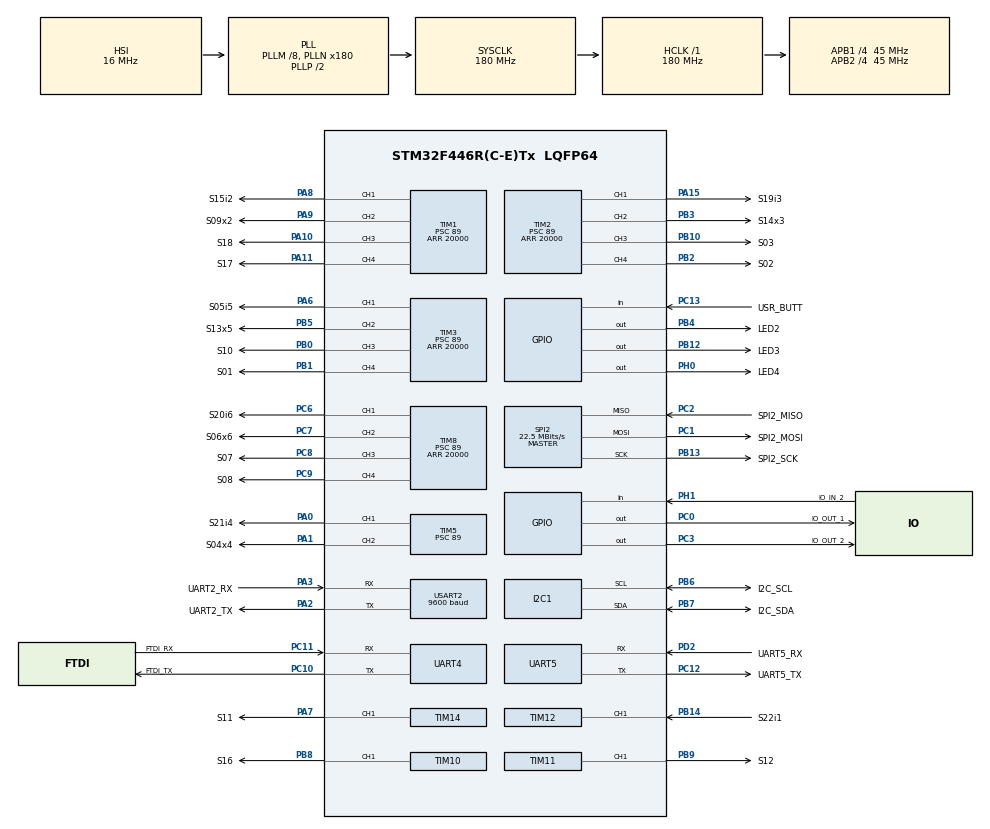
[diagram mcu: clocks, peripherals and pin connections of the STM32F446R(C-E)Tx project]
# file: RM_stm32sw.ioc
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Mcu.Family=STM32F4
Mcu.Name=STM32F446R(C-E)Tx
Mcu.Package=LQFP64
NVIC.PriorityGroup=NVIC_PRIORITYGROUP_4
NVIC.TIM8_UP_TIM13_IRQn=true\:0\:0\:false\:false\:true\:true\:true
NVIC.USART2_IRQn=true\:0\:0\:false\:false\:true\:true\:true
PA0-WKUP.GPIO_Label=S21i4
PA0-WKUP.Signal=S_TIM5_CH1
PA1.GPIO_Label=S04x4
PA1.Signal=S_TIM5_CH2
PA10.GPIO_Label=S18
PA10.Signal=S_TIM1_CH3
PA11.GPIO_Label=S17
PA11.Signal=S_TIM1_CH4
PA13.GPIO_Label=SWDIO
PA13.Mode=Serial_Wire
PA13.Signal=SYS_JTMS-SWDIO
PA14.GPIO_Label=SWCLK
PA14.Mode=Serial_Wire
PA14.Signal=SYS_JTCK-SWCLK
PA15.GPIO_Label=S19i3
PA15.Signal=S_TIM2_CH1_ETR
PA2.GPIO_Label=UART2_TX
PA2.Mode=Asynchronous
PA2.Signal=USART2_TX
PA3.GPIO_Label=UART2_RX
PA3.Mode=Asynchronous
PA3.Signal=USART2_RX
PA4.GPIO_Label=ADC_IN
PA4.Signal=ADCx_IN4
PA6.GPIO_Label=S05i5
PA6.Signal=S_TIM3_CH1
PA7.GPIO_Label=S11
PA7.Signal=S_TIM14_CH1
PA8.GPIO_Label=S15i2
PA8.Signal=S_TIM1_CH1
PA9.GPIO_Label=S09x2
PA9.Signal=S_TIM1_CH2
PB0.GPIO_Label=S10
PB0.Signal=S_TIM3_CH3
PB1.GPIO_Label=S01
PB1.Signal=S_TIM3_CH4
PB10.GPIO_Label=S03
PB10.Signal=S_TIM2_CH3
PB12.GPIO_Label=LED3
PB12.Signal=GPIO_Output
PB13.GPIO_Label=SPI2_SCK
PB13.Mode=Full_Duplex_Master
PB13.Signal=SPI2_SCK
PB14.GPIO_Label=S22i1
PB14.Signal=S_TIM12_CH1
PB2.GPIO_Label=S02
PB2.Signal=S_TIM2_CH4
PB3.GPIO_Label=S14x3
PB3.Signal=S_TIM2_CH2
PB4.GPIO_Label=LED2
PB4.Signal=GPIO_Output
PB5.GPIO_Label=S13x5
PB5.Signal=S_TIM3_CH2
PB6.GPIO_Label=I2C_SCL
PB6.Mode=I2C
PB6.Signal=I2C1_SCL
PB7.GPIO_Label=I2C_SDA
PB7.Mode=I2C
PB7.Signal=I2C1_SDA
PB8.GPIO_Label=S16
PB8.Signal=S_TIM10_CH1
PB9.GPIO_Label=S12
PB9.Signal=S_TIM11_CH1
PC0.GPIO_Label=IO_OUT_1
PC0.Signal=GPIO_Output
PC1.GPIO_Label=SPI2_MOSI
PC1.Mode=Full_Duplex_Master
PC1.Signal=SPI2_MOSI
PC10.GPIO_Label=FTDI_TX
PC10.Mode=Asynchronous
PC10.Signal=UART4_TX
PC11.GPIO_Label=FTDI_RX
PC11.Mode=Asynchronous
PC11.Signal=UART4_RX
PC12.GPIO_Label=UART5_TX
PC12.Mode=Asynchronous
PC12.Signal=UART5_TX
PC13.GPIO_Label=USR_BUTT
PC13.Signal=GPIO_Input
PC14-OSC32_IN.GPIO_Label=OSC_IN
PC14-OSC32_IN.Signal=RCC_OSC32_IN
PC15-OSC32_OUT.GPIO_Label=OSC_OUT
PC15-OSC32_OUT.Signal=RCC_OSC32_OUT
PC2.GPIO_Label=SPI2_MISO
PC2.Mode=Full_Duplex_Master
PC2.Signal=SPI2_MISO
PC3.GPIO_Label=IO_OUT_2
PC3.Signal=GPIO_Output
PC6.GPIO_Label=S20i6
PC6.Signal=S_TIM8_CH1
PC7.GPIO_Label=S06x6
PC7.Signal=S_TIM8_CH2
PC8.GPIO_Label=S07
PC8.Signal=S_TIM8_CH3
PC9.GPIO_Label=S08
PC9.Signal=S_TIM8_CH4
PD2.GPIO_Label=UART5_RX
PD2.Mode=Asynchronous
PD2.Signal=UART5_RX
PH0-OSC_IN.GPIO_Label=LED4
PH0-OSC_IN.Signal=GPIO_Output
PH1-OSC_OUT.GPIO_Label=IO_IN_2
PH1-OSC_OUT.Signal=GPIO_Input
ProjectManager.HeapSize=0x200
ProjectManager.StackSize=0x400
ProjectManager.TargetToolchain=TrueSTUDIO
RCC.AHBFreq_Value=180000000
RCC.APB1CLKDivider=RCC_HCLK_DIV4
RCC.APB1Freq_Value=45000000
RCC.APB1TimFreq_Value=90000000
RCC.APB2CLKDivider=RCC_HCLK_DIV4
RCC.APB2Freq_Value=45000000
RCC.APB2TimFreq_Value=90000000
RCC.CortexFreq_Value=180000000
RCC.HCLKFreq_Value=180000000
RCC.PLLM=8
RCC.PLLN=180
RCC.SYSCLKFreq_VALUE=180000000
RCC.SYSCLKSource=RCC_SYSCLKSOURCE_PLLCLK
RCC.USBFreq_Value=180000000
RCC.VCOOutputFreq_Value=360000000
SH.ADCx_IN4.0=ADC1_IN4
SH.S_TIM10_CH1.0=TIM10_CH1,PWM Generation1 CH1
SH.S_TIM11_CH1.0=TIM11_CH1,PWM Generation1 CH1
SH.S_TIM12_CH1.0=TIM12_CH1,PWM_Input_1
SH.S_TIM14_CH1.0=TIM14_CH1,PWM Generation1 CH1
SH.S_TIM1_CH1.0=TIM1_CH1,PWM Generation1 CH1
SH.S_TIM1_CH2.0=TIM1_CH2,PWM Generation2 CH2
SH.S_TIM1_CH3.0=TIM1_CH3,PWM Generation3 CH3
SH.S_TIM1_CH4.0=TIM1_CH4,PWM Generation4 CH4
SH.S_TIM2_CH1_ETR.0=TIM2_CH1,PWM Generation1 CH1
SH.S_TIM2_CH2.0=TIM2_CH2,PWM Generation2 CH2
SH.S_TIM2_CH3.0=TIM2_CH3,PWM Generation3 CH3
SH.S_TIM2_CH4.0=TIM2_CH4,PWM Generation4 CH4
SH.S_TIM3_CH1.0=TIM3_CH1,PWM Generation1 CH1
SH.S_TIM3_CH2.0=TIM3_CH2,PWM Generation2 CH2
SH.S_TIM3_CH3.0=TIM3_CH3,PWM Generation3 CH3
SH.S_TIM3_CH4.0=TIM3_CH4,PWM Generation4 CH4
SH.S_TIM5_CH1.0=TIM5_CH1,PWM Generation1 CH1
SH.S_TIM5_CH2.0=TIM5_CH2,PWM Generation2 CH2
SH.S_TIM8_CH1.0=TIM8_CH1,PWM Generation1 CH1
SH.S_TIM8_CH2.0=TIM8_CH2,PWM Generation2 CH2
SH.S_TIM8_CH3.0=TIM8_CH3,PWM Generation3 CH3
SH.S_TIM8_CH4.0=TIM8_CH4,PWM Generation4 CH4
SPI2.CalculateBaudRate=22.5 MBits/s
SPI2.Direction=SPI_DIRECTION_2LINES
SPI2.Mode=SPI_MODE_MASTER
SPI2.VirtualType=VM_MASTER
TIM1.Channel-PWM\ Generation1\ CH1=TIM_CHANNEL_1
TIM1.Channel-PWM\ Generation2\ CH2=TIM_CHANNEL_2
TIM1.Channel-PWM\ Generation3\ CH3=TIM_CHANNEL_3
TIM1.Channel-PWM\ Generation4\ CH4=TIM_CHANNEL_4
TIM1.Period=20000
TIM1.Prescaler=89
TIM1.Pulse-PWM\ Generation1\ CH1=1500
TIM1.Pulse-PWM\ Generation2\ CH2=1500
TIM1.Pulse-PWM\ Generation3\ CH3=1500
TIM1.Pulse-PWM\ Generation4\ CH4=1500
TIM10.Channel=TIM_CHANNEL_1
TIM10.Period=20000
TIM10.Prescaler=89
TIM10.Pulse=1500
TIM11.Channel=TIM_CHANNEL_1
TIM11.Period=20000
TIM11.Prescaler=89
TIM11.Pulse=1500
TIM13.Period=20000
TIM13.Prescaler=89
TIM14.Channel=TIM_CHANNEL_1
TIM14.Period=20000
TIM14.Prescaler=89
TIM2.Channel-PWM\ Generation1\ CH1=TIM_CHANNEL_1
TIM2.Channel-PWM\ Generation2\ CH2=TIM_CHANNEL_2
TIM2.Channel-PWM\ Generation3\ CH3=TIM_CHANNEL_3
TIM2.Channel-PWM\ Generation4\ CH4=TIM_CHANNEL_4
TIM2.Period=20000
TIM2.Prescaler=89
TIM2.Pulse-PWM\ Generation1\ CH1=1500
TIM2.Pulse-PWM\ Generation2\ CH2=1500
TIM2.Pulse-PWM\ Generation3\ CH3=1500
TIM2.Pulse-PWM\ Generation4\ CH4=1500
TIM3.Channel-PWM\ Generation1\ CH1=TIM_CHANNEL_1
TIM3.Channel-PWM\ Generation2\ CH2=TIM_CHANNEL_2
TIM3.Channel-PWM\ Generation3\ CH3=TIM_CHANNEL_3
TIM3.Channel-PWM\ Generation4\ CH4=TIM_CHANNEL_4
TIM3.Period=20000
TIM3.Prescaler=89
TIM3.Pulse-PWM\ Generation1\ CH1=1500
TIM3.Pulse-PWM\ Generation2\ CH2=1500
TIM3.Pulse-PWM\ Generation3\ CH3=1500
TIM3.Pulse-PWM\ Generation4\ CH4=1500
TIM5.Channel-PWM\ Generation1\ CH1=TIM_CHANNEL_1
TIM5.Channel-PWM\ Generation2\ CH2=TIM_CHANNEL_2
TIM5.Period=20000
TIM5.Prescaler=89
TIM5.Pulse-PWM\ Generation1\ CH1=1500
TIM5.Pulse-PWM\ Generation2\ CH2=1500
TIM8.Channel-PWM\ Generation1\ CH1=TIM_CHANNEL_1
TIM8.Channel-PWM\ Generation2\ CH2=TIM_CHANNEL_2
TIM8.Channel-PWM\ Generation3\ CH3=TIM_CHANNEL_3
TIM8.Channel-PWM\ Generation4\ CH4=TIM_CHANNEL_4
TIM8.Period=20000
TIM8.Prescaler=89
TIM8.Pulse-PWM\ Generation1\ CH1=1500
TIM8.Pulse-PWM\ Generation2\ CH2=1500
TIM8.Pulse-PWM\ Generation3\ CH3=1500
TIM8.Pulse-PWM\ Generation4\ CH4=1500
UART4.VirtualMode=Asynchronous
UART5.VirtualMode=Asynchronous
USART2.BaudRate=9600
USART2.VirtualMode=VM_ASYNC
VP_RTC_VS_RTC_Activate.Mode=RTC_Enabled
VP_TIM10_VS_ClockSourceINT.Mode=Enable_Timer
VP_TIM11_VS_ClockSourceINT.Mode=Enable_Timer
VP_TIM12_VS_ClockSourceINT.Mode=Internal
VP_TIM13_VS_ClockSourceINT.Mode=Enable_Timer
VP_TIM14_VS_ClockSourceINT.Mode=Enable_Timer
VP_TIM1_VS_ClockSourceINT.Mode=Internal
VP_TIM2_VS_ClockSourceINT.Mode=Internal
VP_TIM3_VS_ClockSourceINT.Mode=Internal
VP_TIM5_VS_ClockSourceINT.Mode=Internal
VP_TIM7_VS_ClockSourceINT.Mode=Enable_Timer
VP_TIM8_VS_ClockSourceINT.Mode=Internal
board=custom

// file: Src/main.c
/* USER CODE BEGIN Header */
/**
  ******************************************************************************
  * @file           : main.c
  * @brief          : Main program body
  ******************************************************************************
  ** This notice applies to any and all portions of this file
  * that are not between comment pairs USER CODE BEGIN and
  * USER CODE END. Other portions of this file, whether
  * inserted by the user or by software development tools
  * are owned by their respective copyright owners.
  *
  * COPYRIGHT(c) 2019 STMicroelectronics
  *
  * Redistribution and use in source and binary forms, with or without modification,
  * are permitted provided that the following conditions are met:
  *   1. Redistributions of source code must retain the above copyright notice,
  *      this list of conditions and the following disclaimer.
  *   2. Redistributions in binary form must reproduce the above copyright notice,
  *      this list of conditions and the following disclaimer in the documentation
  *      and/or other materials provided with the distribution.
  *   3. Neither the name of STMicroelectronics nor the names of its contributors
  *      may be used to endorse or promote products derived from this software
  *      without specific prior written permission.
  *
  * THIS SOFTWARE IS PROVIDED BY THE COPYRIGHT HOLDERS AND CONTRIBUTORS "AS IS"
  * AND ANY EXPRESS OR IMPLIED WARRANTIES, INCLUDING, BUT NOT LIMITED TO, THE
  * IMPLIED WARRANTIES OF MERCHANTABILITY AND FITNESS FOR A PARTICULAR PURPOSE ARE
  * DISCLAIMED. IN NO EVENT SHALL THE COPYRIGHT HOLDER OR CONTRIBUTORS BE LIABLE
  * FOR ANY DIRECT, INDIRECT, INCIDENTAL, SPECIAL, EXEMPLARY, OR CONSEQUENTIAL
  * DAMAGES (INCLUDING, BUT NOT LIMITED TO, PROCUREMENT OF SUBSTITUTE GOODS OR
  * SERVICES; LOSS OF USE, DATA, OR PROFITS; OR BUSINESS INTERRUPTION) HOWEVER
  * CAUSED AND ON ANY THEORY OF LIABILITY, WHETHER IN CONTRACT, STRICT LIABILITY,
  * OR TORT (INCLUDING NEGLIGENCE OR OTHERWISE) ARISING IN ANY WAY OUT OF THE USE
  * OF THIS SOFTWARE, EVEN IF ADVISED OF THE POSSIBILITY OF SUCH DAMAGE.
  *
  ******************************************************************************
  */
/* USER CODE END Header */

#include "main.h"

/* USER CODE BEGIN Includes */
#include "serial.h"
#include "servo.h"
#include "leg.h"
#include "robot.h"
#include "tools.h"
/* USER CODE END Includes */

I2C_HandleTypeDef hi2c1;

RTC_HandleTypeDef hrtc;

SPI_HandleTypeDef hspi2;

TIM_HandleTypeDef htim1;
TIM_HandleTypeDef htim2;
TIM_HandleTypeDef htim3;
TIM_HandleTypeDef htim5;
TIM_HandleTypeDef htim7;
TIM_HandleTypeDef htim8;
TIM_HandleTypeDef htim10;
TIM_HandleTypeDef htim11;
TIM_HandleTypeDef htim12;
TIM_HandleTypeDef htim13;
TIM_HandleTypeDef htim14;

UART_HandleTypeDef huart4;
UART_HandleTypeDef huart5;
UART_HandleTypeDef huart2;

void SystemClock_Config(void);
static void MX_GPIO_Init(void);
static void MX_USART2_UART_Init(void);
static void MX_I2C1_Init(void);
static void MX_UART4_Init(void);
static void MX_TIM12_Init(void);
static void MX_TIM11_Init(void);
static void MX_TIM10_Init(void);
static void MX_TIM8_Init(void);
static void MX_TIM7_Init(void);
static void MX_TIM5_Init(void);
static void MX_TIM3_Init(void);
static void MX_TIM2_Init(void);
static void MX_TIM1_Init(void);
static void MX_UART5_Init(void);
static void MX_SPI2_Init(void);
static void MX_RTC_Init(void);
static void MX_TIM14_Init(void);
static void MX_TIM13_Init(void);

int main(void)
{

  /* MCU Configuration--------------------------------------------------------*/

  /* Reset of all peripherals, Initializes the Flash interface and the Systick. */
  HAL_Init();

  /* Configure the system clock */
  SystemClock_Config();

  /* Initialize all configured peripherals */
  MX_GPIO_Init();
  MX_USART2_UART_Init();
  MX_I2C1_Init();
  MX_UART4_Init();
  MX_TIM12_Init();
  MX_TIM11_Init();
  MX_TIM10_Init();
  MX_TIM8_Init();
  MX_TIM7_Init();
  MX_TIM5_Init();
  MX_TIM3_Init();
  MX_TIM2_Init();
  MX_TIM1_Init();
  MX_UART5_Init();
  MX_SPI2_Init();
  MX_RTC_Init();
  MX_TIM14_Init();
  MX_TIM13_Init();
  /* USER CODE BEGIN 2 */

  // Initialise serial exchanges
  HAL_Serial_Init(&huart2, &hserial2);

  // Initialise robot
  Robot_Init();
  Robot_Start();
  LedSwitch(3,GPIO_PIN_SET);
  LedSwitch(4,GPIO_PIN_SET);

  // initialise TIM13 for 50Hz IT
  HAL_TIM_Base_Start_IT(&htim13);

  // initialise UART2 for command reception
  Message_StartReceive(5);

  /* USER CODE END 2 */

  /* Infinite loop */
  while (1)
  {

    /* USER CODE BEGIN 3 */
    // User button pushed ?
    if(HAL_GPIO_ReadPin(USR_BUTT_GPIO_Port,USR_BUTT_Pin)==GPIO_PIN_RESET)
    {
      while(HAL_GPIO_ReadPin(USR_BUTT_GPIO_Port,USR_BUTT_Pin)==GPIO_PIN_RESET)
      {
        // wait until button release
      }
      if(robot.robot_on == 1)
      {
        LedSwitch(4,GPIO_PIN_SET);
        robot.robot_on=0;
        Robot_Stop();
      }
      else
      {
        LedSwitch(4,GPIO_PIN_RESET);
        robot.robot_on=1;
        Robot_Start();
      }
    }

    // read and process commands
    Robot_ReadCommand();

    // measure TIM13 IT duration
    if(robot.tim13_nb>=50)
    {
      int i;
      int tim13_ctr_max;
      float tim13_ctr_mean;

      tim13_ctr_max=0;
      tim13_ctr_mean=0;
      for(i=0;i<robot.tim13_nb;i++)
      {
        if( tim13_ctr_max < robot.tim13_ctr[i])
          tim13_ctr_max= robot.tim13_ctr[i];
        tim13_ctr_mean+=(float)robot.tim13_ctr[i];
      }
      tim13_ctr_mean/=(float)robot.tim13_nb;
      robot.tim13_nb=0;

      // output useful information
      char buf[32];
      Message_Send((uint8_t *)buf, sprintf(buf, "** TIM13 ctr max=%d mean=%f\r\n", tim13_ctr_max, tim13_ctr_mean));
    }
    HAL_Delay(100);
  }
  /* USER CODE END 3 */
}

void SystemClock_Config(void)
{
  RCC_OscInitTypeDef RCC_OscInitStruct = {0};
  RCC_ClkInitTypeDef RCC_ClkInitStruct = {0};
  RCC_PeriphCLKInitTypeDef PeriphClkInitStruct = {0};

  /**Configure the main internal regulator output voltage
  */
  __HAL_RCC_PWR_CLK_ENABLE();
  __HAL_PWR_VOLTAGESCALING_CONFIG(PWR_REGULATOR_VOLTAGE_SCALE1);
  /**Initializes the CPU, AHB and APB busses clocks
  */
  RCC_OscInitStruct.OscillatorType = RCC_OSCILLATORTYPE_HSI|RCC_OSCILLATORTYPE_LSI;
  RCC_OscInitStruct.LSEState = RCC_LSE_OFF;
  RCC_OscInitStruct.HSIState = RCC_HSI_ON;
  RCC_OscInitStruct.HSICalibrationValue = RCC_HSICALIBRATION_DEFAULT;
  RCC_OscInitStruct.LSIState = RCC_LSI_ON;
  RCC_OscInitStruct.PLL.PLLState = RCC_PLL_ON;
  RCC_OscInitStruct.PLL.PLLSource = RCC_PLLSOURCE_HSI;
  RCC_OscInitStruct.PLL.PLLM = 8;
  RCC_OscInitStruct.PLL.PLLN = 180;
  RCC_OscInitStruct.PLL.PLLP = RCC_PLLP_DIV2;
  RCC_OscInitStruct.PLL.PLLQ = 2;
  RCC_OscInitStruct.PLL.PLLR = 2;
  if (HAL_RCC_OscConfig(&RCC_OscInitStruct) != HAL_OK)
  {
    Error_Handler();
  }
  /**Activate the Over-Drive mode
  */
  if (HAL_PWREx_EnableOverDrive() != HAL_OK)
  {
    Error_Handler();
  }
  /**Initializes the CPU, AHB and APB busses clocks
  */
  RCC_ClkInitStruct.ClockType = RCC_CLOCKTYPE_HCLK|RCC_CLOCKTYPE_SYSCLK
                              |RCC_CLOCKTYPE_PCLK1|RCC_CLOCKTYPE_PCLK2;
  RCC_ClkInitStruct.SYSCLKSource = RCC_SYSCLKSOURCE_PLLCLK;
  RCC_ClkInitStruct.AHBCLKDivider = RCC_SYSCLK_DIV1;
  RCC_ClkInitStruct.APB1CLKDivider = RCC_HCLK_DIV4;
  RCC_ClkInitStruct.APB2CLKDivider = RCC_HCLK_DIV4;

  if (HAL_RCC_ClockConfig(&RCC_ClkInitStruct, FLASH_LATENCY_5) != HAL_OK)
  {
    Error_Handler();
  }
  PeriphClkInitStruct.PeriphClockSelection = RCC_PERIPHCLK_RTC;
  PeriphClkInitStruct.RTCClockSelection = RCC_RTCCLKSOURCE_LSI;
  if (HAL_RCCEx_PeriphCLKConfig(&PeriphClkInitStruct) != HAL_OK)
  {
    Error_Handler();
  }
}

static void MX_I2C1_Init(void)
{

  hi2c1.Instance = I2C1;
  hi2c1.Init.ClockSpeed = 100000;
  hi2c1.Init.DutyCycle = I2C_DUTYCYCLE_2;
  hi2c1.Init.OwnAddress1 = 0;
  hi2c1.Init.AddressingMode = I2C_ADDRESSINGMODE_7BIT;
  hi2c1.Init.DualAddressMode = I2C_DUALADDRESS_DISABLE;
  hi2c1.Init.OwnAddress2 = 0;
  hi2c1.Init.GeneralCallMode = I2C_GENERALCALL_DISABLE;
  hi2c1.Init.NoStretchMode = I2C_NOSTRETCH_DISABLE;
  if (HAL_I2C_Init(&hi2c1) != HAL_OK)
  {
    Error_Handler();
  }

}

static void MX_RTC_Init(void)
{

  /**Initialize RTC Only
  */
  hrtc.Instance = RTC;
  hrtc.Init.HourFormat = RTC_HOURFORMAT_24;
  hrtc.Init.AsynchPrediv = 127;
  hrtc.Init.SynchPrediv = 255;
  hrtc.Init.OutPut = RTC_OUTPUT_DISABLE;
  hrtc.Init.OutPutPolarity = RTC_OUTPUT_POLARITY_HIGH;
  hrtc.Init.OutPutType = RTC_OUTPUT_TYPE_OPENDRAIN;
  if (HAL_RTC_Init(&hrtc) != HAL_OK)
  {
    Error_Handler();
  }

}

static void MX_SPI2_Init(void)
{

  /* SPI2 parameter configuration*/
  hspi2.Instance = SPI2;
  hspi2.Init.Mode = SPI_MODE_MASTER;
  hspi2.Init.Direction = SPI_DIRECTION_2LINES;
  hspi2.Init.DataSize = SPI_DATASIZE_8BIT;
  hspi2.Init.CLKPolarity = SPI_POLARITY_LOW;
  hspi2.Init.CLKPhase = SPI_PHASE_1EDGE;
  hspi2.Init.NSS = SPI_NSS_SOFT;
  hspi2.Init.BaudRatePrescaler = SPI_BAUDRATEPRESCALER_2;
  hspi2.Init.FirstBit = SPI_FIRSTBIT_MSB;
  hspi2.Init.TIMode = SPI_TIMODE_DISABLE;
  hspi2.Init.CRCCalculation = SPI_CRCCALCULATION_DISABLE;
  hspi2.Init.CRCPolynomial = 10;
  if (HAL_SPI_Init(&hspi2) != HAL_OK)
  {
    Error_Handler();
  }

}

static void MX_TIM1_Init(void)
{

  TIM_ClockConfigTypeDef sClockSourceConfig = {0};
  TIM_MasterConfigTypeDef sMasterConfig = {0};
  TIM_OC_InitTypeDef sConfigOC = {0};
  TIM_BreakDeadTimeConfigTypeDef sBreakDeadTimeConfig = {0};

  htim1.Instance = TIM1;
  htim1.Init.Prescaler = 89;
  htim1.Init.CounterMode = TIM_COUNTERMODE_UP;
  htim1.Init.Period = 20000;
  htim1.Init.ClockDivision = TIM_CLOCKDIVISION_DIV1;
  htim1.Init.RepetitionCounter = 0;
  if (HAL_TIM_Base_Init(&htim1) != HAL_OK)
  {
    Error_Handler();
  }
  sClockSourceConfig.ClockSource = TIM_CLOCKSOURCE_INTERNAL;
  if (HAL_TIM_ConfigClockSource(&htim1, &sClockSourceConfig) != HAL_OK)
  {
    Error_Handler();
  }
  if (HAL_TIM_PWM_Init(&htim1) != HAL_OK)
  {
    Error_Handler();
  }
  sMasterConfig.MasterOutputTrigger = TIM_TRGO_RESET;
  sMasterConfig.MasterSlaveMode = TIM_MASTERSLAVEMODE_DISABLE;
  if (HAL_TIMEx_MasterConfigSynchronization(&htim1, &sMasterConfig) != HAL_OK)
  {
    Error_Handler();
  }
  sConfigOC.OCMode = TIM_OCMODE_PWM1;
  sConfigOC.Pulse = 1500;
  sConfigOC.OCPolarity = TIM_OCPOLARITY_HIGH;
  sConfigOC.OCNPolarity = TIM_OCNPOLARITY_HIGH;
  sConfigOC.OCFastMode = TIM_OCFAST_DISABLE;
  sConfigOC.OCIdleState = TIM_OCIDLESTATE_RESET;
  sConfigOC.OCNIdleState = TIM_OCNIDLESTATE_RESET;
  if (HAL_TIM_PWM_ConfigChannel(&htim1, &sConfigOC, TIM_CHANNEL_1) != HAL_OK)
  {
    Error_Handler();
  }
  if (HAL_TIM_PWM_ConfigChannel(&htim1, &sConfigOC, TIM_CHANNEL_2) != HAL_OK)
  {
    Error_Handler();
  }
  if (HAL_TIM_PWM_ConfigChannel(&htim1, &sConfigOC, TIM_CHANNEL_3) != HAL_OK)
  {
    Error_Handler();
  }
  if (HAL_TIM_PWM_ConfigChannel(&htim1, &sConfigOC, TIM_CHANNEL_4) != HAL_OK)
  {
    Error_Handler();
  }
  sBreakDeadTimeConfig.OffStateRunMode = TIM_OSSR_DISABLE;
  sBreakDeadTimeConfig.OffStateIDLEMode = TIM_OSSI_DISABLE;
  sBreakDeadTimeConfig.LockLevel = TIM_LOCKLEVEL_OFF;
  sBreakDeadTimeConfig.DeadTime = 0;
  sBreakDeadTimeConfig.BreakState = TIM_BREAK_DISABLE;
  sBreakDeadTimeConfig.BreakPolarity = TIM_BREAKPOLARITY_HIGH;
  sBreakDeadTimeConfig.AutomaticOutput = TIM_AUTOMATICOUTPUT_DISABLE;
  if (HAL_TIMEx_ConfigBreakDeadTime(&htim1, &sBreakDeadTimeConfig) != HAL_OK)
  {
    Error_Handler();
  }
  HAL_TIM_MspPostInit(&htim1);

}

static void MX_TIM2_Init(void)
{

  TIM_ClockConfigTypeDef sClockSourceConfig = {0};
  TIM_MasterConfigTypeDef sMasterConfig = {0};
  TIM_OC_InitTypeDef sConfigOC = {0};

  htim2.Instance = TIM2;
  htim2.Init.Prescaler = 89;
  htim2.Init.CounterMode = TIM_COUNTERMODE_UP;
  htim2.Init.Period = 20000;
  htim2.Init.ClockDivision = TIM_CLOCKDIVISION_DIV1;
  if (HAL_TIM_Base_Init(&htim2) != HAL_OK)
  {
    Error_Handler();
  }
  sClockSourceConfig.ClockSource = TIM_CLOCKSOURCE_INTERNAL;
  if (HAL_TIM_ConfigClockSource(&htim2, &sClockSourceConfig) != HAL_OK)
  {
    Error_Handler();
  }
  if (HAL_TIM_PWM_Init(&htim2) != HAL_OK)
  {
    Error_Handler();
  }
  sMasterConfig.MasterOutputTrigger = TIM_TRGO_RESET;
  sMasterConfig.MasterSlaveMode = TIM_MASTERSLAVEMODE_DISABLE;
  if (HAL_TIMEx_MasterConfigSynchronization(&htim2, &sMasterConfig) != HAL_OK)
  {
    Error_Handler();
  }
  sConfigOC.OCMode = TIM_OCMODE_PWM1;
  sConfigOC.Pulse = 1500;
  sConfigOC.OCPolarity = TIM_OCPOLARITY_HIGH;
  sConfigOC.OCFastMode = TIM_OCFAST_DISABLE;
  if (HAL_TIM_PWM_ConfigChannel(&htim2, &sConfigOC, TIM_CHANNEL_1) != HAL_OK)
  {
    Error_Handler();
  }
  if (HAL_TIM_PWM_ConfigChannel(&htim2, &sConfigOC, TIM_CHANNEL_2) != HAL_OK)
  {
    Error_Handler();
  }
  if (HAL_TIM_PWM_ConfigChannel(&htim2, &sConfigOC, TIM_CHANNEL_3) != HAL_OK)
  {
    Error_Handler();
  }
  if (HAL_TIM_PWM_ConfigChannel(&htim2, &sConfigOC, TIM_CHANNEL_4) != HAL_OK)
  {
    Error_Handler();
  }
  HAL_TIM_MspPostInit(&htim2);

}

static void MX_TIM3_Init(void)
{

  TIM_ClockConfigTypeDef sClockSourceConfig = {0};
  TIM_MasterConfigTypeDef sMasterConfig = {0};
  TIM_OC_InitTypeDef sConfigOC = {0};

  htim3.Instance = TIM3;
  htim3.Init.Prescaler = 89;
  htim3.Init.CounterMode = TIM_COUNTERMODE_UP;
  htim3.Init.Period = 20000;
  htim3.Init.ClockDivision = TIM_CLOCKDIVISION_DIV1;
  if (HAL_TIM_Base_Init(&htim3) != HAL_OK)
  {
    Error_Handler();
  }
  sClockSourceConfig.ClockSource = TIM_CLOCKSOURCE_INTERNAL;
  if (HAL_TIM_ConfigClockSource(&htim3, &sClockSourceConfig) != HAL_OK)
  {
    Error_Handler();
  }
  if (HAL_TIM_PWM_Init(&htim3) != HAL_OK)
  {
    Error_Handler();
  }
  sMasterConfig.MasterOutputTrigger = TIM_TRGO_RESET;
  sMasterConfig.MasterSlaveMode = TIM_MASTERSLAVEMODE_DISABLE;
  if (HAL_TIMEx_MasterConfigSynchronization(&htim3, &sMasterConfig) != HAL_OK)
  {
    Error_Handler();
  }
  sConfigOC.OCMode = TIM_OCMODE_PWM1;
  sConfigOC.Pulse = 1500;
  sConfigOC.OCPolarity = TIM_OCPOLARITY_HIGH;
  sConfigOC.OCFastMode = TIM_OCFAST_DISABLE;
  if (HAL_TIM_PWM_ConfigChannel(&htim3, &sConfigOC, TIM_CHANNEL_1) != HAL_OK)
  {
    Error_Handler();
  }
  if (HAL_TIM_PWM_ConfigChannel(&htim3, &sConfigOC, TIM_CHANNEL_2) != HAL_OK)
  {
    Error_Handler();
  }
  if (HAL_TIM_PWM_ConfigChannel(&htim3, &sConfigOC, TIM_CHANNEL_3) != HAL_OK)
  {
    Error_Handler();
  }
  if (HAL_TIM_PWM_ConfigChannel(&htim3, &sConfigOC, TIM_CHANNEL_4) != HAL_OK)
  {
    Error_Handler();
  }
  HAL_TIM_MspPostInit(&htim3);

}

static void MX_TIM5_Init(void)
{

  TIM_ClockConfigTypeDef sClockSourceConfig = {0};
  TIM_MasterConfigTypeDef sMasterConfig = {0};
  TIM_OC_InitTypeDef sConfigOC = {0};

  htim5.Instance = TIM5;
  htim5.Init.Prescaler = 89;
  htim5.Init.CounterMode = TIM_COUNTERMODE_UP;
  htim5.Init.Period = 20000;
  htim5.Init.ClockDivision = TIM_CLOCKDIVISION_DIV1;
  if (HAL_TIM_Base_Init(&htim5) != HAL_OK)
  {
    Error_Handler();
  }
  sClockSourceConfig.ClockSource = TIM_CLOCKSOURCE_INTERNAL;
  if (HAL_TIM_ConfigClockSource(&htim5, &sClockSourceConfig) != HAL_OK)
  {
    Error_Handler();
  }
  if (HAL_TIM_PWM_Init(&htim5) != HAL_OK)
  {
    Error_Handler();
  }
  sMasterConfig.MasterOutputTrigger = TIM_TRGO_RESET;
  sMasterConfig.MasterSlaveMode = TIM_MASTERSLAVEMODE_DISABLE;
  if (HAL_TIMEx_MasterConfigSynchronization(&htim5, &sMasterConfig) != HAL_OK)
  {
    Error_Handler();
  }
  sConfigOC.OCMode = TIM_OCMODE_PWM1;
  sConfigOC.Pulse = 1500;
  sConfigOC.OCPolarity = TIM_OCPOLARITY_HIGH;
  sConfigOC.OCFastMode = TIM_OCFAST_DISABLE;
  if (HAL_TIM_PWM_ConfigChannel(&htim5, &sConfigOC, TIM_CHANNEL_1) != HAL_OK)
  {
    Error_Handler();
  }
  if (HAL_TIM_PWM_ConfigChannel(&htim5, &sConfigOC, TIM_CHANNEL_2) != HAL_OK)
  {
    Error_Handler();
  }
  HAL_TIM_MspPostInit(&htim5);

}

static void MX_TIM7_Init(void)
{

  TIM_MasterConfigTypeDef sMasterConfig = {0};

  htim7.Instance = TIM7;
  htim7.Init.Prescaler = 0;
  htim7.Init.CounterMode = TIM_COUNTERMODE_UP;
  htim7.Init.Period = 0;
  if (HAL_TIM_Base_Init(&htim7) != HAL_OK)
  {
    Error_Handler();
  }
  sMasterConfig.MasterOutputTrigger = TIM_TRGO_RESET;
  sMasterConfig.MasterSlaveMode = TIM_MASTERSLAVEMODE_DISABLE;
  if (HAL_TIMEx_MasterConfigSynchronization(&htim7, &sMasterConfig) != HAL_OK)
  {
    Error_Handler();
  }

}

static void MX_TIM8_Init(void)
{

  TIM_ClockConfigTypeDef sClockSourceConfig = {0};
  TIM_MasterConfigTypeDef sMasterConfig = {0};
  TIM_OC_InitTypeDef sConfigOC = {0};
  TIM_BreakDeadTimeConfigTypeDef sBreakDeadTimeConfig = {0};

  htim8.Instance = TIM8;
  htim8.Init.Prescaler = 89;
  htim8.Init.CounterMode = TIM_COUNTERMODE_UP;
  htim8.Init.Period = 20000;
  htim8.Init.ClockDivision = TIM_CLOCKDIVISION_DIV1;
  htim8.Init.RepetitionCounter = 0;
  if (HAL_TIM_Base_Init(&htim8) != HAL_OK)
  {
    Error_Handler();
  }
  sClockSourceConfig.ClockSource = TIM_CLOCKSOURCE_INTERNAL;
  if (HAL_TIM_ConfigClockSource(&htim8, &sClockSourceConfig) != HAL_OK)
  {
    Error_Handler();
  }
  if (HAL_TIM_PWM_Init(&htim8) != HAL_OK)
  {
    Error_Handler();
  }
  sMasterConfig.MasterOutputTrigger = TIM_TRGO_RESET;
  sMasterConfig.MasterSlaveMode = TIM_MASTERSLAVEMODE_DISABLE;
  if (HAL_TIMEx_MasterConfigSynchronization(&htim8, &sMasterConfig) != HAL_OK)
  {
    Error_Handler();
  }
  sConfigOC.OCMode = TIM_OCMODE_PWM1;
  sConfigOC.Pulse = 1500;
  sConfigOC.OCPolarity = TIM_OCPOLARITY_HIGH;
  sConfigOC.OCNPolarity = TIM_OCNPOLARITY_HIGH;
  sConfigOC.OCFastMode = TIM_OCFAST_DISABLE;
  sConfigOC.OCIdleState = TIM_OCIDLESTATE_RESET;
  sConfigOC.OCNIdleState = TIM_OCNIDLESTATE_RESET;
  if (HAL_TIM_PWM_ConfigChannel(&htim8, &sConfigOC, TIM_CHANNEL_1) != HAL_OK)
  {
    Error_Handler();
  }
  if (HAL_TIM_PWM_ConfigChannel(&htim8, &sConfigOC, TIM_CHANNEL_2) != HAL_OK)
  {
    Error_Handler();
  }
  if (HAL_TIM_PWM_ConfigChannel(&htim8, &sConfigOC, TIM_CHANNEL_3) != HAL_OK)
  {
    Error_Handler();
  }
  if (HAL_TIM_PWM_ConfigChannel(&htim8, &sConfigOC, TIM_CHANNEL_4) != HAL_OK)
  {
    Error_Handler();
  }
  sBreakDeadTimeConfig.OffStateRunMode = TIM_OSSR_DISABLE;
  sBreakDeadTimeConfig.OffStateIDLEMode = TIM_OSSI_DISABLE;
  sBreakDeadTimeConfig.LockLevel = TIM_LOCKLEVEL_OFF;
  sBreakDeadTimeConfig.DeadTime = 0;
  sBreakDeadTimeConfig.BreakState = TIM_BREAK_DISABLE;
  sBreakDeadTimeConfig.BreakPolarity = TIM_BREAKPOLARITY_HIGH;
  sBreakDeadTimeConfig.AutomaticOutput = TIM_AUTOMATICOUTPUT_DISABLE;
  if (HAL_TIMEx_ConfigBreakDeadTime(&htim8, &sBreakDeadTimeConfig) != HAL_OK)
  {
    Error_Handler();
  }
  HAL_TIM_MspPostInit(&htim8);

}

static void MX_TIM10_Init(void)
{

  TIM_OC_InitTypeDef sConfigOC = {0};

  htim10.Instance = TIM10;
  htim10.Init.Prescaler = 89;
  htim10.Init.CounterMode = TIM_COUNTERMODE_UP;
  htim10.Init.Period = 20000;
  htim10.Init.ClockDivision = TIM_CLOCKDIVISION_DIV1;
  if (HAL_TIM_Base_Init(&htim10) != HAL_OK)
  {
    Error_Handler();
  }
  if (HAL_TIM_PWM_Init(&htim10) != HAL_OK)
  {
    Error_Handler();
  }
  sConfigOC.OCMode = TIM_OCMODE_PWM1;
  sConfigOC.Pulse = 1500;
  sConfigOC.OCPolarity = TIM_OCPOLARITY_HIGH;
  sConfigOC.OCFastMode = TIM_OCFAST_DISABLE;
  if (HAL_TIM_PWM_ConfigChannel(&htim10, &sConfigOC, TIM_CHANNEL_1) != HAL_OK)
  {
    Error_Handler();
  }
  HAL_TIM_MspPostInit(&htim10);

}

static void MX_TIM11_Init(void)
{

  TIM_OC_InitTypeDef sConfigOC = {0};

  htim11.Instance = TIM11;
  htim11.Init.Prescaler = 89;
  htim11.Init.CounterMode = TIM_COUNTERMODE_UP;
  htim11.Init.Period = 20000;
  htim11.Init.ClockDivision = TIM_CLOCKDIVISION_DIV1;
  if (HAL_TIM_Base_Init(&htim11) != HAL_OK)
  {
    Error_Handler();
  }
  if (HAL_TIM_PWM_Init(&htim11) != HAL_OK)
  {
    Error_Handler();
  }
  sConfigOC.OCMode = TIM_OCMODE_PWM1;
  sConfigOC.Pulse = 1500;
  sConfigOC.OCPolarity = TIM_OCPOLARITY_HIGH;
  sConfigOC.OCFastMode = TIM_OCFAST_DISABLE;
  if (HAL_TIM_PWM_ConfigChannel(&htim11, &sConfigOC, TIM_CHANNEL_1) != HAL_OK)
  {
    Error_Handler();
  }
  HAL_TIM_MspPostInit(&htim11);

}

static void MX_TIM12_Init(void)
{

  TIM_ClockConfigTypeDef sClockSourceConfig = {0};
  TIM_SlaveConfigTypeDef sSlaveConfig = {0};
  TIM_IC_InitTypeDef sConfigIC = {0};

  htim12.Instance = TIM12;
  htim12.Init.Prescaler = 0;
  htim12.Init.CounterMode = TIM_COUNTERMODE_UP;
  htim12.Init.Period = 0;
  htim12.Init.ClockDivision = TIM_CLOCKDIVISION_DIV1;
  if (HAL_TIM_Base_Init(&htim12) != HAL_OK)
  {
    Error_Handler();
  }
  sClockSourceConfig.ClockSource = TIM_CLOCKSOURCE_INTERNAL;
  if (HAL_TIM_ConfigClockSource(&htim12, &sClockSourceConfig) != HAL_OK)
  {
    Error_Handler();
  }
  if (HAL_TIM_IC_Init(&htim12) != HAL_OK)
  {
    Error_Handler();
  }
  sSlaveConfig.SlaveMode = TIM_SLAVEMODE_RESET;
  sSlaveConfig.InputTrigger = TIM_TS_TI1FP1;
  sSlaveConfig.TriggerPolarity = TIM_INPUTCHANNELPOLARITY_RISING;
  sSlaveConfig.TriggerPrescaler = TIM_ICPSC_DIV1;
  sSlaveConfig.TriggerFilter = 0;
  if (HAL_TIM_SlaveConfigSynchronization(&htim12, &sSlaveConfig) != HAL_OK)
  {
    Error_Handler();
  }
  sConfigIC.ICPolarity = TIM_INPUTCHANNELPOLARITY_RISING;
  sConfigIC.ICSelection = TIM_ICSELECTION_DIRECTTI;
  sConfigIC.ICPrescaler = TIM_ICPSC_DIV1;
  sConfigIC.ICFilter = 0;
  if (HAL_TIM_IC_ConfigChannel(&htim12, &sConfigIC, TIM_CHANNEL_1) != HAL_OK)
  {
    Error_Handler();
  }
  sConfigIC.ICPolarity = TIM_INPUTCHANNELPOLARITY_FALLING;
  sConfigIC.ICSelection = TIM_ICSELECTION_INDIRECTTI;
  if (HAL_TIM_IC_ConfigChannel(&htim12, &sConfigIC, TIM_CHANNEL_2) != HAL_OK)
  {
    Error_Handler();
  }

}

static void MX_TIM13_Init(void)
{

  htim13.Instance = TIM13;
  htim13.Init.Prescaler = 89;
  htim13.Init.CounterMode = TIM_COUNTERMODE_UP;
  htim13.Init.Period = 20000;
  htim13.Init.ClockDivision = TIM_CLOCKDIVISION_DIV1;
  if (HAL_TIM_Base_Init(&htim13) != HAL_OK)
  {
    Error_Handler();
  }

}

static void MX_TIM14_Init(void)
{

  TIM_OC_InitTypeDef sConfigOC = {0};

  htim14.Instance = TIM14;
  htim14.Init.Prescaler = 89;
  htim14.Init.CounterMode = TIM_COUNTERMODE_UP;
  htim14.Init.Period = 20000;
  htim14.Init.ClockDivision = TIM_CLOCKDIVISION_DIV1;
  if (HAL_TIM_Base_Init(&htim14) != HAL_OK)
  {
    Error_Handler();
  }
  if (HAL_TIM_PWM_Init(&htim14) != HAL_OK)
  {
    Error_Handler();
  }
  sConfigOC.OCMode = TIM_OCMODE_PWM1;
  sConfigOC.Pulse = 0;
  sConfigOC.OCPolarity = TIM_OCPOLARITY_HIGH;
  sConfigOC.OCFastMode = TIM_OCFAST_DISABLE;
  if (HAL_TIM_PWM_ConfigChannel(&htim14, &sConfigOC, TIM_CHANNEL_1) != HAL_OK)
  {
    Error_Handler();
  }
  HAL_TIM_MspPostInit(&htim14);

}

static void MX_UART4_Init(void)
{

  huart4.Instance = UART4;
  huart4.Init.BaudRate = 115200;
  huart4.Init.WordLength = UART_WORDLENGTH_8B;
  huart4.Init.StopBits = UART_STOPBITS_1;
  huart4.Init.Parity = UART_PARITY_NONE;
  huart4.Init.Mode = UART_MODE_TX_RX;
  huart4.Init.HwFlowCtl = UART_HWCONTROL_NONE;
  huart4.Init.OverSampling = UART_OVERSAMPLING_16;
  if (HAL_UART_Init(&huart4) != HAL_OK)
  {
    Error_Handler();
  }

}

static void MX_UART5_Init(void)
{

  huart5.Instance = UART5;
  huart5.Init.BaudRate = 115200;
  huart5.Init.WordLength = UART_WORDLENGTH_8B;
  huart5.Init.StopBits = UART_STOPBITS_1;
  huart5.Init.Parity = UART_PARITY_NONE;
  huart5.Init.Mode = UART_MODE_TX_RX;
  huart5.Init.HwFlowCtl = UART_HWCONTROL_NONE;
  huart5.Init.OverSampling = UART_OVERSAMPLING_16;
  if (HAL_UART_Init(&huart5) != HAL_OK)
  {
    Error_Handler();
  }

}

static void MX_USART2_UART_Init(void)
{

  huart2.Instance = USART2;
  huart2.Init.BaudRate = 9600;
  huart2.Init.WordLength = UART_WORDLENGTH_8B;
  huart2.Init.StopBits = UART_STOPBITS_1;
  huart2.Init.Parity = UART_PARITY_NONE;
  huart2.Init.Mode = UART_MODE_TX_RX;
  huart2.Init.HwFlowCtl = UART_HWCONTROL_NONE;
  huart2.Init.OverSampling = UART_OVERSAMPLING_16;
  if (HAL_UART_Init(&huart2) != HAL_OK)
  {
    Error_Handler();
  }

}

static void MX_GPIO_Init(void)
{
  GPIO_InitTypeDef GPIO_InitStruct = {0};

  /* GPIO Ports Clock Enable */
  __HAL_RCC_GPIOC_CLK_ENABLE();
  __HAL_RCC_GPIOH_CLK_ENABLE();
  __HAL_RCC_GPIOA_CLK_ENABLE();
  __HAL_RCC_GPIOB_CLK_ENABLE();
  __HAL_RCC_GPIOD_CLK_ENABLE();

  /*Configure GPIO pin Output Level */
  HAL_GPIO_WritePin(LED4_GPIO_Port, LED4_Pin, GPIO_PIN_RESET);

  /*Configure GPIO pin Output Level */
  HAL_GPIO_WritePin(GPIOC, IO_OUT_1_Pin|IO_OUT_2_Pin, GPIO_PIN_RESET);

  /*Configure GPIO pin Output Level */
  HAL_GPIO_WritePin(GPIOB, LED3_Pin|LED2_Pin, GPIO_PIN_RESET);

  /*Configure GPIO pin : USR_BUTT_Pin */
  GPIO_InitStruct.Pin = USR_BUTT_Pin;
  GPIO_InitStruct.Mode = GPIO_MODE_INPUT;
  GPIO_InitStruct.Pull = GPIO_NOPULL;
  HAL_GPIO_Init(USR_BUTT_GPIO_Port, &GPIO_InitStruct);

  /*Configure GPIO pin : LED4_Pin */
  GPIO_InitStruct.Pin = LED4_Pin;
  GPIO_InitStruct.Mode = GPIO_MODE_OUTPUT_PP;
  GPIO_InitStruct.Pull = GPIO_NOPULL;
  GPIO_InitStruct.Speed = GPIO_SPEED_FREQ_LOW;
  HAL_GPIO_Init(LED4_GPIO_Port, &GPIO_InitStruct);

  /*Configure GPIO pin : IO_IN_2_Pin */
  GPIO_InitStruct.Pin = IO_IN_2_Pin;
  GPIO_InitStruct.Mode = GPIO_MODE_INPUT;
  GPIO_InitStruct.Pull = GPIO_NOPULL;
  HAL_GPIO_Init(IO_IN_2_GPIO_Port, &GPIO_InitStruct);

  /*Configure GPIO pins : IO_OUT_1_Pin IO_OUT_2_Pin */
  GPIO_InitStruct.Pin = IO_OUT_1_Pin|IO_OUT_2_Pin;
  GPIO_InitStruct.Mode = GPIO_MODE_OUTPUT_PP;
  GPIO_InitStruct.Pull = GPIO_NOPULL;
  GPIO_InitStruct.Speed = GPIO_SPEED_FREQ_LOW;
  HAL_GPIO_Init(GPIOC, &GPIO_InitStruct);

  /*Configure GPIO pin : ADC_IN_Pin */
  GPIO_InitStruct.Pin = ADC_IN_Pin;
  GPIO_InitStruct.Mode = GPIO_MODE_ANALOG;
  GPIO_InitStruct.Pull = GPIO_NOPULL;
  HAL_GPIO_Init(ADC_IN_GPIO_Port, &GPIO_InitStruct);

  /*Configure GPIO pins : LED3_Pin LED2_Pin */
  GPIO_InitStruct.Pin = LED3_Pin|LED2_Pin;
  GPIO_InitStruct.Mode = GPIO_MODE_OUTPUT_PP;
  GPIO_InitStruct.Pull = GPIO_NOPULL;
  GPIO_InitStruct.Speed = GPIO_SPEED_FREQ_LOW;
  HAL_GPIO_Init(GPIOB, &GPIO_InitStruct);

}

/* USER CODE BEGIN 4 */
/**
  * @brief  Period elapsed callback in non blocking mode
  * @param  htim: TIM handle
  * @retval None
  */
void HAL_TIM_PeriodElapsedCallback(TIM_HandleTypeDef *htim)
{
    if (htim->Instance == htim13.Instance)
    {
        /* Toggle LED */
        HAL_GPIO_TogglePin(LED2_GPIO_Port, LED2_Pin);
        // Robot update
        Robot_Update();
    }
}

/* USER CODE END 4 */

void Error_Handler(void)
{
}

/************************ (C) COPYRIGHT STMicroelectronics *****END OF FILE****/
